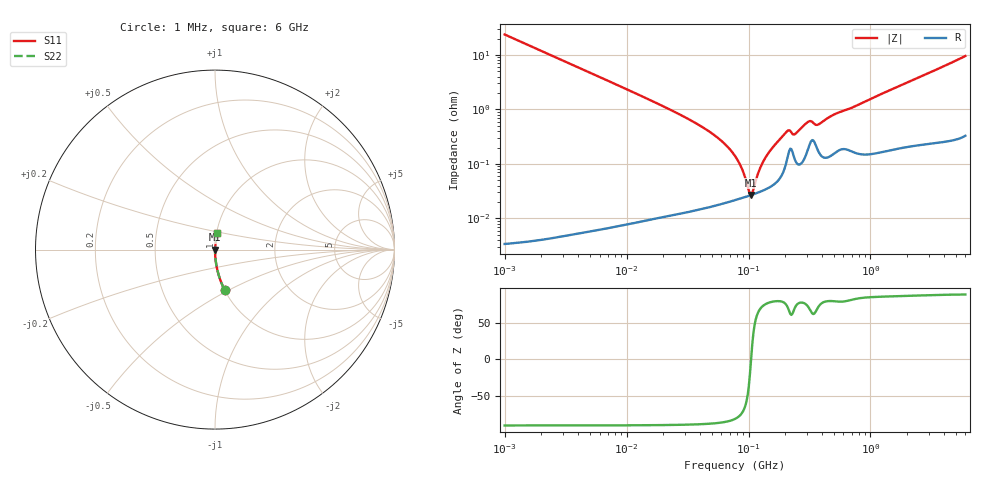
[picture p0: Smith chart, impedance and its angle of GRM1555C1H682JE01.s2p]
!Murata Part Number: GRM1555C1H682JE01
!These Parameters are Measured in Series Mode Connection
!Data Generated on Mar 30, 2021
!  o--ll--o
!Port1  Port2
!  o------o
!Operation Temp=25[degC], DC Bias Voltage=0[V]
!Freq. Start=1000[kHz] Stop=6[GHz] 401[Steps]
# Hz S RI R 50
!Freq.(Hz) S11(Real) S11(Imag) S21(Real) S21(Imag) S12(Real) S12(Imag) S22(Real) S22(Imag)
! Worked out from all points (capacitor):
!   401 points, 1 MHz to 6 GHz, reference 50 ohm
!   read as one part in series: C = 6.68 nF near 1.044 MHz
!   lowest |Z| = 26.9 mohm at 105 MHz (marker M1)
!   series resonance near 104.9 MHz, so ESL is about 340 pH
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1000000  0.0537 -0.2253  0.9463 0.2253  0.9463 0.2253  0.0537 -0.2253
2005636  0.0139 -0.117  0.9861 0.117  0.9861 0.117  0.0139 -0.117
4293785  0.00311 -0.0552  0.9969 0.0552  0.9969 0.0552  0.00311 -0.0552
1.843659e7  0.000258 -0.0125  0.9997 0.0125  0.9997 0.0125  0.000258 -0.0125
4.800399e7  0.000176 -0.00389  0.9998 0.00389  0.9998 0.00389  0.000176 -0.00389
6.368941e7  0.000196 -0.00234  0.9998 0.00234  0.9998 0.00234  0.000196 -0.00234
7.745967e7  0.000218 -0.00138  0.9998 0.00138  0.9998 0.00138  0.000218 -0.00138
8.635799e7  0.000234 -0.000882  0.9998 0.000882  0.9998 0.000882  0.000234 -0.000882
1.005588e8  0.00026 -0.000192  0.9997 0.000192  0.9997 0.000192  0.00026 -0.000192
1.050294e8  0.000269 4.2e-06  0.9997 -4.2e-06  0.9997 -4.2e-06  0.000269 4.2e-06
1.096987e8  0.000278 0.000201  0.9997 -0.000201  0.9997 -0.000201  0.000278 0.000201
1.196694e8  0.000299 0.000599  0.9997 -0.000599  0.9997 -0.000599  0.000299 0.000599
1.305463e8  0.000324 0.00101  0.9997 -0.00101  0.9997 -0.00101  0.000324 0.00101
1.658303e8  0.000445 0.00225  0.9996 -0.00225  0.9996 -0.00225  0.000445 0.00225
2.061188e8  0.00117 0.00376  0.9988 -0.00376  0.9988 -0.00376  0.00117 0.00376
2.400133e8  0.00121 0.00331  0.9988 -0.00331  0.9988 -0.00331  0.00121 0.00331
3.048839e8  0.00179 0.00556  0.9982 -0.00556  0.9982 -0.00556  0.00179 0.00556
3.325952e8  0.00276 0.00523  0.9972 -0.00523  0.9972 -0.00523  0.00276 0.00523
3.789555e8  0.00163 0.00513  0.9984 -0.00513  0.9984 -0.00513  0.00163 0.00513
5.027802e8  0.00161 0.00792  0.9984 -0.00792  0.9984 -0.00792  0.00161 0.00792
1.428092e9  0.00226 0.0223  0.9977 -0.0223  0.9977 -0.0223  0.00226 0.0223
6e9  0.0123 0.0945  0.9877 -0.0945  0.9877 -0.0945  0.0123 0.0945
